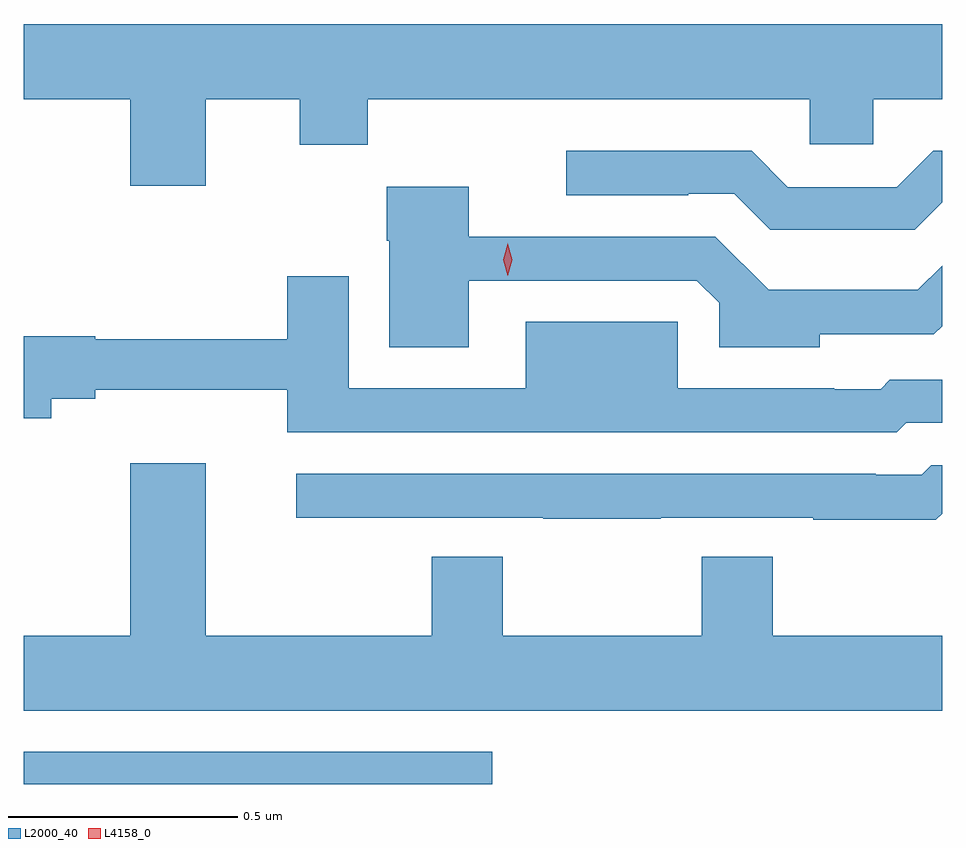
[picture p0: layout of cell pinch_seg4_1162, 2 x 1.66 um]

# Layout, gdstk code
import gdstk
lib = gdstk.Library(unit=1e-6, precision=1e-09)
def R(c, l, rs):  # rectangles x0, y0, x1, y1
    for r in rs: c.add(gdstk.rectangle(r[:2], r[2:], *l))
def P(c, l, *ps):  # polygons
    for p in ps: c.add(gdstk.Polygon(p, *l))
L2000_40 = (2000, 40)
L4158_0 = (4158, 0)

pinch_seg4_1162 = lib.new_cell('pinch_seg4_1162')
R(pinch_seg4_1162, L2000_40, [(452.488,764.693,453.508,764.763)])
P(pinch_seg4_1162, L2000_40, [(452.884,766.184),(453.089,766.184),(453.089,766.085),(453.237,766.085),(453.237,766.184),(454.2,766.184),(454.2,766.086),(454.338,766.086),(454.338,766.184),(454.488,766.184),(454.488,766.348),(452.488,766.348),(452.488,766.184),(452.72,766.184),(452.72,765.996),(452.884,765.996)],
  [(454.488,765.96),(454.488,766.072),(454.468,766.072),(454.389,765.993),(454.152,765.993),(454.073,766.072),(453.669,766.072),(453.669,765.975),(453.935,765.975),(453.935,765.978),(454.035,765.978),(454.113,765.9),(454.428,765.9)],
  [(453.457,765.789),(453.954,765.789),(454.002,765.741),(454.002,765.644),(454.221,765.644),(454.221,765.672),(454.47,765.672),(454.488,765.69),(454.488,765.822),(454.435,765.769),(454.11,765.769),(453.994,765.885),(453.457,765.885),(453.457,765.994),(453.278,765.994),(453.278,765.876),(453.284,765.876),(453.284,765.644),(453.457,765.644)],
  [(454.41,765.48),(454.488,765.48),(454.488,765.573),(454.374,765.573),(454.354,765.553),(454.253,765.553),(454.253,765.555),(453.912,765.555),(453.912,765.7),(453.581,765.7),(453.581,765.555),(453.196,765.555),(453.196,765.799),(453.062,765.799),(453.062,765.661),(452.644,765.661),(452.644,765.668),(452.488,765.668),(452.488,765.49),(452.548,765.49),(452.548,765.532),(452.644,765.532),(452.644,765.551),(453.062,765.551),(453.062,765.459),(454.389,765.459)],
  [(454.488,765.016),(454.119,765.016),(454.119,765.188),(453.964,765.188),(453.964,765.016),(453.531,765.016),(453.531,765.188),(453.376,765.188),(453.376,765.016),(452.884,765.016),(452.884,765.391),(452.72,765.391),(452.72,765.016),(452.488,765.016),(452.488,764.852),(454.488,764.852)],
  [(454.488,765.282),(454.488,765.387),(454.464,765.387),(454.443,765.366),(454.343,765.366),(454.343,765.369),(453.081,765.369),(453.081,765.273),(453.619,765.273),(453.619,765.271),(453.875,765.271),(453.875,765.273),(454.207,765.273),(454.207,765.268),(454.474,765.268)])
P(pinch_seg4_1162, L4158_0, [(453.542,765.8),(453.542,765.8),(453.532,765.835),(453.542,765.87),(453.542,765.871),(453.542,765.87),(453.552,765.835),(453.542,765.8)])

lib.write_gds('pinch_seg4_1162.gds')
